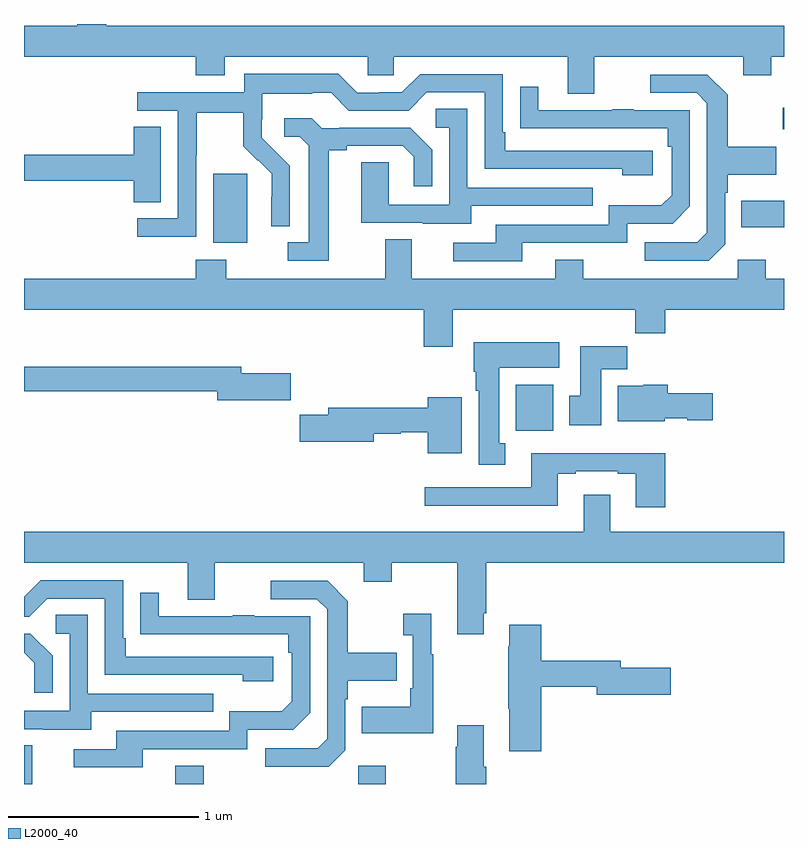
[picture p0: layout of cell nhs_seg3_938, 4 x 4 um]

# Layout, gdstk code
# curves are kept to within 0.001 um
import gdstk
lib = gdstk.Library(unit=1e-6, precision=1e-09)
def R(c, l, rs):  # rectangles x0, y0, x1, y1
    for r in rs: c.add(gdstk.rectangle(r[:2], r[2:], *l))
def P(c, l, *ps):  # polygons
    for p in ps: c.add(gdstk.Polygon(p, *l))
L2000_40 = (2000, 40)

nhs_seg3_938 = lib.new_cell('nhs_seg3_938')
R(nhs_seg3_938, L2000_40, [(159,718.4,159.043,718.604), (159.797,718.4,159.945,718.495), (160.758,718.4,160.905,718.495), (161.588,720.26,161.785,720.502), (159.995,721.25,160.174,721.611), (162.775,721.331,163,721.471), (162.993,721.847,163,721.96)])
P(nhs_seg3_938, L2000_40, [(162.001,722.228),(162.785,722.228),(162.785,722.129),(162.933,722.129),(162.933,722.228),(163,722.228),(163,722.392),(159.434,722.392),(159.434,722.4),(159.281,722.4),(159.281,722.392),(159,722.392),(159,722.228),(159.905,722.228),(159.905,722.129),(160.057,722.129),(160.057,722.228),(160.809,722.228),(160.809,722.13),(160.947,722.13),(160.947,722.228),(161.861,722.228),(161.861,722.034),(162.001,722.034)],
  [(159.906,721.708),(159.909,721.708),(159.909,721.932),(160.153,721.932),(160.153,721.757),(160.23,721.68),(160.233,721.683),(160.304,721.613),(160.304,721.49),(160.302,721.49),(160.302,721.336),(160.398,721.336),(160.398,721.654),(160.252,721.802),(160.252,721.899),(160.254,721.899),(160.254,722.033),(160.517,722.033),(160.517,722.037),(160.617,722.037),(160.71,721.944),(161.025,721.944),(161.121,722.04),(161.424,722.04),(161.424,721.638),(162.149,721.638),(162.149,721.604),(162.31,721.604),(162.31,721.734),(161.533,721.734),(161.533,721.831),(161.52,721.831),(161.52,722.136),(161.085,722.136),(160.989,722.04),(160.871,722.04),(160.871,722.037),(160.755,722.037),(160.655,722.137),(160.158,722.137),(160.158,722.04),(159.597,722.04),(159.597,721.944),(159.81,721.944),(159.81,721.377),(159.597,721.377),(159.597,721.279),(159.906,721.279)],
  [(162.69,721.242),(162.69,721.511),(162.703,721.511),(162.703,721.607),(162.959,721.607),(162.959,721.755),(162.703,721.755),(162.703,722.027),(162.597,722.133),(162.297,722.133),(162.297,722.037),(162.54,722.037),(162.594,721.983),(162.594,721.302),(162.543,721.251),(162.267,721.251),(162.267,721.155),(162.603,721.155)],
  [(161.623,721.248),(162.174,721.248),(162.174,721.35),(162.414,721.35),(162.504,721.44),(162.504,721.947),(162.209,721.947),(162.209,721.952),(162.097,721.952),(162.097,721.947),(161.707,721.947),(161.707,722.071),(161.611,722.071),(161.611,721.852),(162.388,721.851),(162.388,721.754),(162.408,721.754),(162.408,721.5),(162.355,721.447),(162.078,721.447),(162.078,721.344),(161.483,721.344),(161.483,721.248),(161.259,721.248),(161.259,721.152),(161.623,721.152)],
  [(161.353,721.443),(161.993,721.443),(161.993,721.539),(161.334,721.539),(161.334,721.955),(161.166,721.955),(161.166,721.854),(161.238,721.854),(161.238,721.449),(160.92,721.449),(160.92,721.673),(160.775,721.673),(160.775,721.353),(161.099,721.353),(161.099,721.349),(161.353,721.349)],
  [(160.603,721.736),(160.699,721.736),(160.699,721.758),(160.994,721.758),(161.051,721.701),(161.051,721.545),(161.148,721.545),(161.148,721.738),(161.032,721.854),(160.66,721.854),(160.66,721.851),(160.566,721.851),(160.514,721.903),(160.371,721.903),(160.371,721.806),(160.452,721.806),(160.499,721.759),(160.499,721.251),(160.389,721.251),(160.389,721.155),(160.603,721.155)],
  [(159.721,721.859),(159.578,721.859),(159.578,721.712),(159,721.712),(159,721.576),(159.578,721.576),(159.578,721.462),(159.721,721.462)],
  [(160.901,721.268),(160.901,721.06),(160.065,721.06),(160.065,721.159),(159.905,721.159),(159.905,721.06),(159,721.06),(159,720.896),(161.105,720.896),(161.105,720.702),(161.257,720.702),(161.257,720.896),(162.217,720.896),(162.217,720.772),(162.374,720.772),(162.374,720.896),(163,720.896),(163,721.06),(162.903,721.06),(162.903,721.159),(162.756,721.159),(162.756,721.06),(161.943,721.06),(161.943,721.159),(161.795,721.159),(161.795,721.06),(161.041,721.06),(161.041,721.268)],
  [(161.533,720.194),(161.5,720.194),(161.5,720.59),(161.818,720.59),(161.818,720.724),(161.366,720.724),(161.366,720.57),(161.378,720.57),(161.378,720.47),(161.393,720.47),(161.393,720.081),(161.533,720.081)],
  [(162.037,720.584),(162.176,720.584),(162.176,720.703),(161.927,720.703),(161.927,720.444),(161.87,720.444),(161.87,720.288),(162.037,720.288)],
  [(160.405,720.561),(160.144,720.561),(160.144,720.595),(159,720.595),(159,720.466),(160.016,720.466),(160.016,720.419),(160.405,720.419)],
  [(162.372,720.326),(162.492,720.326),(162.492,720.314),(162.625,720.314),(162.625,720.456),(162.389,720.456),(162.389,720.502),(162.258,720.502),(162.258,720.496),(162.125,720.496),(162.125,720.308),(162.372,720.308)],
  [(161.305,720.436),(161.126,720.436),(161.126,720.38),(160.601,720.38),(160.601,720.344),(160.452,720.344),(160.452,720.202),(160.84,720.202),(160.84,720.244),(160.983,720.244),(160.983,720.252),(161.126,720.252),(161.126,720.14),(161.305,720.14)],
  [(162.374,720.142),(161.669,720.142),(161.669,719.961),(161.109,719.961),(161.109,719.864),(161.809,719.864),(161.809,720.033),(161.905,720.033),(161.905,720.045),(162.125,720.045),(162.125,720.033),(162.221,720.033),(162.221,719.856),(162.374,719.856)],
  [(161.419,719.299),(161.432,719.299),(161.432,719.564),(163,719.564),(163,719.728),(162.085,719.728),(162.085,719.923),(161.945,719.923),(161.945,719.728),(159,719.728),(159,719.564),(159.863,719.564),(159.863,719.37),(160.003,719.37),(160.003,719.564),(160.787,719.564),(160.787,719.465),(160.935,719.465),(160.935,719.564),(161.279,719.564),(161.279,719.187),(161.419,719.187)],
  [(160.312,719.07),(159.535,719.07),(159.535,719.167),(159.522,719.167),(159.522,719.472),(159.087,719.472),(159,719.385),(159,719.28),(159.027,719.28),(159.123,719.376),(159.426,719.376),(159.426,718.974),(160.151,718.974),(160.151,718.94),(160.312,718.94)],
  [(160.692,718.578),(160.692,718.847),(160.705,718.847),(160.705,718.943),(160.961,718.943),(160.961,719.091),(160.705,719.091),(160.705,719.363),(160.599,719.469),(160.299,719.469),(160.299,719.373),(160.542,719.373),(160.596,719.319),(160.596,718.638),(160.545,718.587),(160.269,718.587),(160.269,718.491),(160.605,718.491)],
  [(159.625,718.584),(160.176,718.584),(160.176,718.686),(160.416,718.686),(160.506,718.776),(160.506,719.283),(160.211,719.283),(160.211,719.288),(160.099,719.288),(160.099,719.283),(159.709,719.283),(159.709,719.407),(159.613,719.407),(159.613,719.188),(160.39,719.187),(160.39,719.09),(160.41,719.09),(160.41,718.836),(160.357,718.783),(160.08,718.783),(160.08,718.68),(159.485,718.68),(159.485,718.584),(159.261,718.584),(159.261,718.488),(159.625,718.488)],
  [(161.155,719.083),(161.143,719.083),(161.143,719.296),(160.995,719.296),(160.995,719.183),(161.046,719.183),(161.046,718.903),(161.034,718.903),(161.034,718.807),(160.777,718.807),(160.777,718.667),(161.155,718.667)],
  [(159.355,718.779),(159.995,718.779),(159.995,718.875),(159.336,718.875),(159.336,719.291),(159.168,719.291),(159.168,719.19),(159.24,719.19),(159.24,718.785),(159,718.785),(159,718.689),(159.101,718.689),(159.101,718.685),(159.355,718.685)],
  [(161.723,718.912),(162.014,718.912),(162.014,718.87),(162.403,718.87),(162.403,719.012),(162.142,719.012),(162.142,719.048),(161.723,719.048),(161.723,719.239),(161.555,719.239),(161.555,719.126),(161.548,719.126),(161.548,718.795),(161.555,718.795),(161.555,718.572),(161.723,718.572)],
  [(159.15,719.074),(159.034,719.19),(159,719.19),(159,719.09),(159.053,719.037),(159.053,718.881),(159.15,718.881)],
  [(161.432,718.492),(161.419,718.492),(161.419,718.708),(161.279,718.708),(161.279,718.595),(161.272,718.595),(161.272,718.4),(161.432,718.4)])

lib.write_gds('nhs_seg3_938.gds')
